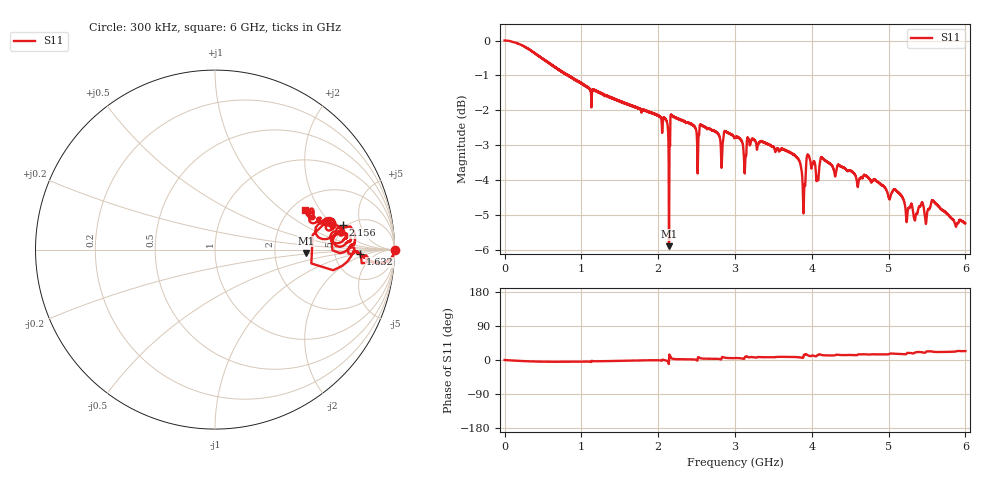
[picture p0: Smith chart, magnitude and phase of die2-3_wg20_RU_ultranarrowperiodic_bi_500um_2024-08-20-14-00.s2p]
!Keysight Technologies,P9374A,MY57304198,A.17.20.09
!Date: Tuesday, August 20, 2024 14:01:02
!Correction: S11(C  1-Port  )
!S21(C  1-Port  )
!S12(Off)
!S22(Off)
!S2P File: Measurements: S11, S21, S12, S22:
# Hz S  dB  R 50
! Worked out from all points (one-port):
!   6000 points, 300 kHz to 6 GHz, reference 50 ohm
!   lowest |S11| = -5.9 dB at 2.141 GHz (marker M1), VSWR 3.06, Z = 153 - j7.91 ohm
!   |S11| at or under -10 dB: nowhere
!   S11 on the Smith chart (normalised r, x): 300 kHz: open; 1.632 GHz: 9.25, -1.27; 2.156 GHz: 4.67, +2.71; 6 GHz: 2.37, +1.48
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300000  0.00 -0.0  -200.00 45.0  -200.00 45.0  -200.00 45.0
4.153484e8  -0.40 -4.1  -200.00 45.0  -200.00 45.0  -200.00 45.0
1.000417e9  -1.22 -4.3  -200.00 45.0  -200.00 45.0  -200.00 45.0
1.63249e9  -1.85 -1.7  -200.00 45.0  -200.00 45.0  -200.00 45.0
2.000533e9  -2.15 -0.7  -200.00 45.0  -200.00 45.0  -200.00 45.0
2.110546e9  -2.30 -1.7  -200.00 45.0  -200.00 45.0  -200.00 45.0
2.14055e9  -5.89 -2.2  -200.00 45.0  -200.00 45.0  -200.00 45.0
2.155551e9  -2.78 10.9  -200.00 45.0  -200.00 45.0  -200.00 45.0
2.190556e9  -2.16 3.1  -200.00 45.0  -200.00 45.0  -200.00 45.0
2.48259e9  -2.48 1.1  -200.00 45.0  -200.00 45.0  -200.00 45.0
2.544597e9  -2.41 5.0  -200.00 45.0  -200.00 45.0  -200.00 45.0
2.793626e9  -2.71 2.7  -200.00 45.0  -200.00 45.0  -200.00 45.0
3.00065e9  -2.76 5.1  -200.00 45.0  -200.00 45.0  -200.00 45.0
3.124665e9  -3.79 5.2  -200.00 45.0  -200.00 45.0  -200.00 45.0
3.239678e9  -2.83 7.0  -200.00 45.0  -200.00 45.0  -200.00 45.0
3.779741e9  -3.30 7.9  -200.00 45.0  -200.00 45.0  -200.00 45.0
3.861751e9  -3.66 6.4  -200.00 45.0  -200.00 45.0  -200.00 45.0
3.896755e9  -4.60 13.6  -200.00 45.0  -200.00 45.0  -200.00 45.0
3.925758e9  -3.60 15.5  -200.00 45.0  -200.00 45.0  -200.00 45.0
4.000767e9  -3.60 11.6  -200.00 45.0  -200.00 45.0  -200.00 45.0
5.000883e9  -4.47 15.2  -200.00 45.0  -200.00 45.0  -200.00 45.0
6e9  -5.23 23.5  -200.00 45.0  -200.00 45.0  -200.00 45.0
